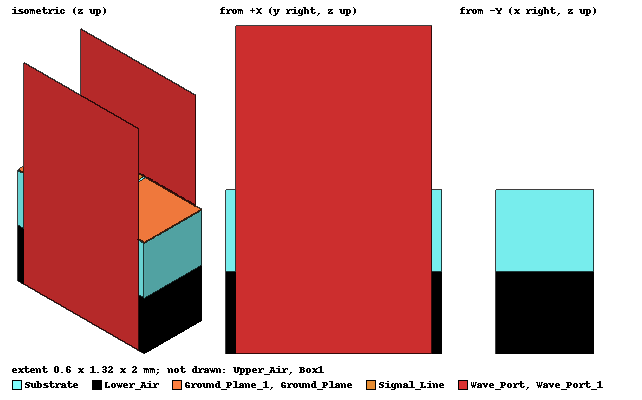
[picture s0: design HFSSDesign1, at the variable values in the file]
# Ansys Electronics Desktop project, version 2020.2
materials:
  vacuum: permittivity=1
  glass: permittivity=5.5
  gold: permeability=0.99996 conductivity=41000000
  air: permittivity=1.0006 permeability=1.0000004

design HFSSDesign1 (HFSS, DrivenModal, model units mm)
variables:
  W_Substrate = 11*W_Signal
  L_Line = 600um
  t_Substrate = 500um
  W_Signal = 120um
  t_Gold = 1um
  W_Gap = 19.5um
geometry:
  Substrate [glass] = box(corner=(-L_Line/2, -W_Substrate/2, 0mm), size=(L_Line, W_Substrate, -t_Substrate))
  Signal_Line [gold] = box(corner=(-L_Line/2, -W_Signal/2, 0mm), size=(L_Line, W_Signal, t_Gold))
  Ground_Plane [gold] = box(corner=(-L_Line/2, W_Gap+W_Signal/2, 0mm), size=(L_Line, W_Substrate/2-W_Signal/2-W_Gap, t_Gold))
  Ground_Plane_1 [gold] = Ground_Plane.duplicate_around_axis(axis=Z, angle=180deg, total=2)
  Upper_Air [air] = box(corner=(-L_Line/2, -W_Substrate/2, 0mm), size=(L_Line, W_Substrate, 2*t_Substrate))
  Ground_Plane_2 = Ground_Plane.copy()
  Ground_Plane_1_1 = Ground_Plane_1.copy()
  Signal_Line_1 = Signal_Line.copy()
  Upper_Air.subtract(Ground_Plane_2, Ground_Plane_1_1, Signal_Line_1)
  Wave_Port = rectangle(corner=(L_Line/2, -10*W_Signal/2, -2*t_Substrate), y_size=10*W_Signal, z_size=t_Substrate*4)
  Wave_Port_1 = Wave_Port.duplicate_around_axis(axis=Z, angle=180deg, total=2)
  Box1 [vacuum] = box(corner=(-L_Line/2, -W_Substrate/2, -4*t_Substrate/2), size=(L_Line, W_Substrate, 4*t_Substrate))
  Lower_Air [air] = box(corner=(-L_Line/2, -W_Substrate/2, -t_Substrate), size=(L_Line, W_Substrate, -t_Substrate))
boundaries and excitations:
  Rad1: Radiation Faces=Box1.face(+y, +z, -y, -z)
  PerfH1: Perfect H Faces=Box1.face(-x, +x)
  1: Wave Port Objects=Wave_Port NumModes=1 Modes{Mode1{CharImp=Zpi}}
  2: Wave Port Objects=Wave_Port_1 NumModes=1 Modes{Mode1{CharImp=Zpi}}
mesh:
  initial mesh: GlobalSurfApproximation{CurvedSurfaceApproxChoice=UseSlider SliderMeshSettings=9}
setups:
  Setup1: HfssDriven Frequency=26GHz MaxDeltaS=0.02 MaximumPasses=6 MinimumPasses=1 MinimumConvergedPasses=1 PercentRefinement=30 BasisOrder=1 PortAccuracy=2
    sweep Sweep: 20GHz to 40GHz, 40 points; Type=Interpolating InterpTolerance=0.5 InterpMaxSolns=250 InterpUsePortImped=false PassivityErrorTolerance=0.0001
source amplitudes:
  1:1: 1W 0deg
  2:1: 0W 0deg
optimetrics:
  ParametricSetup1: Parametric Sim._Setups=[Setup1]
    sweep W_Gap: LINC 14um 20.5um 10
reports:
  S Parameter Plot 1: re(Zo(1, 1)) vs Freq on Setup1 : Sweep [W_Gap=all]; markers m1 at 26.153846GHz
